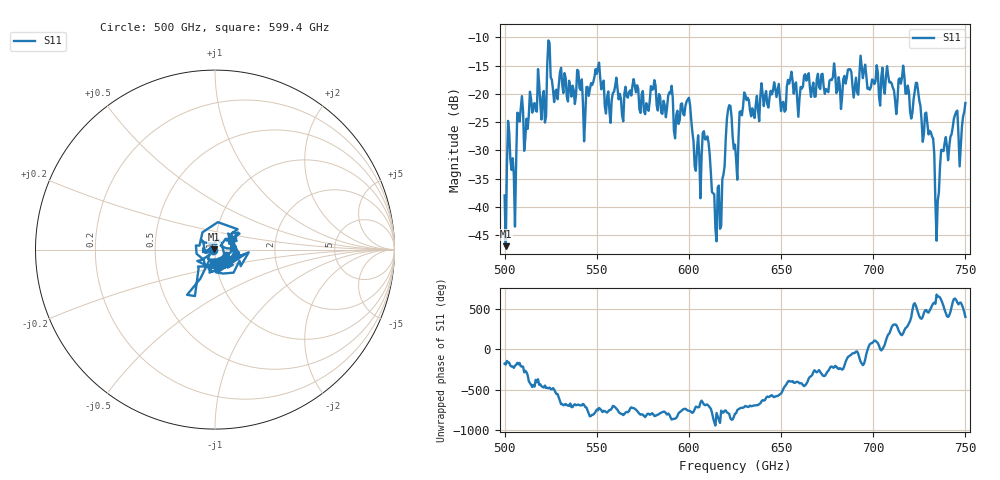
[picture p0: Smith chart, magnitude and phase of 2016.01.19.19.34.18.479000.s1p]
!Created with skrf (http://scikit-rf.org).
# GHz S RI R 50.0
!freq ReS11 ImS11
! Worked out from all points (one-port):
!   401 points, 500 GHz to 750 GHz, reference 50 ohm
!   lowest |S11| = -47.0 dB at 500.6 GHz (marker M1), VSWR 1.01, Z = 49.6 + j0.074 ohm
!   |S11| at or under -10 dB: start of sweep to end of sweep
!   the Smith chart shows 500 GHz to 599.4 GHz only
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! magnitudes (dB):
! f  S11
! 500 GHz  -38.0
! 500.6 GHz  -47.0
! 503.1 GHz  -31.7
! 505 GHz  -34.3
! 508.1 GHz  -24.9
! 521.2 GHz  -19.5
! 524.4 GHz  -11.0
! 527.5 GHz  -19.6
! 531.2 GHz  -18.4
! 562.5 GHz  -20.0
! 580.6 GHz  -19.2
! 593.8 GHz  -23.0
! 599.4 GHz  -21.0
! 605 GHz  -27.4
! 609.4 GHz  -28.1
! 615.6 GHz  -36.6
! 621.9 GHz  -22.0
! 625 GHz  -29.0
! 630.6 GHz  -20.2
! 656.2 GHz  -17.7
! 687.5 GHz  -15.7
! 718.8 GHz  -18.5
! 731.9 GHz  -27.5
! 735 GHz  -38.9
! 738.1 GHz  -30.1
! 744.4 GHz  -23.8
! 747.5 GHz  -29.3
! 750 GHz  -21.6
